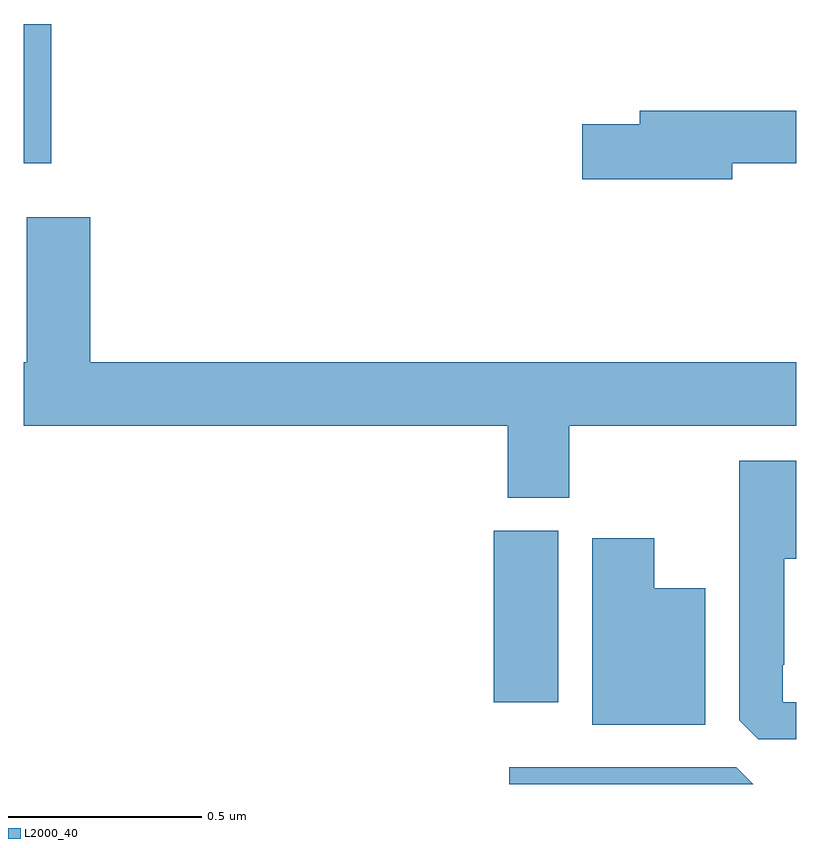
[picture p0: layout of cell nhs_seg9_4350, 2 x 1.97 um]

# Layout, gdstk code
import gdstk
lib = gdstk.Library(unit=1e-6, precision=1e-09)
def R(c, l, rs):  # rectangles x0, y0, x1, y1
    for r in rs: c.add(gdstk.rectangle(r[:2], r[2:], *l))
def P(c, l, *ps):  # polygons
    for p in ps: c.add(gdstk.Polygon(p, *l))
L2000_40 = (2000, 40)

nhs_seg9_4350 = lib.new_cell('nhs_seg9_4350')
R(nhs_seg9_4350, L2000_40, [(166.217,1187.712,166.384,1188.156), (165,1189.108,165.071,1189.468)])
P(nhs_seg9_4350, L2000_40, [(166.834,1189.108),(167,1189.108),(167,1189.244),(166.595,1189.244),(166.595,1189.208),(166.446,1189.208),(166.446,1189.066),(166.834,1189.066)],
  [(166.413,1188.428),(167,1188.428),(167,1188.592),(165.172,1188.592),(165.172,1188.967),(165.008,1188.967),(165.008,1188.592),(165,1188.592),(165,1188.428),(166.253,1188.428),(166.253,1188.241),(166.413,1188.241)],
  [(167,1187.712),(166.965,1187.712),(166.965,1187.809),(166.969,1187.809),(166.969,1188.083),(167,1188.083),(167,1188.337),(166.853,1188.337),(166.853,1187.665),(166.902,1187.616),(167,1187.616)],
  [(166.765,1188.007),(166.633,1188.007),(166.633,1188.136),(166.472,1188.136),(166.472,1187.654),(166.765,1187.654)],
  [(166.845,1187.544),(166.257,1187.544),(166.257,1187.5),(166.889,1187.5)])

lib.write_gds('nhs_seg9_4350.gds')
